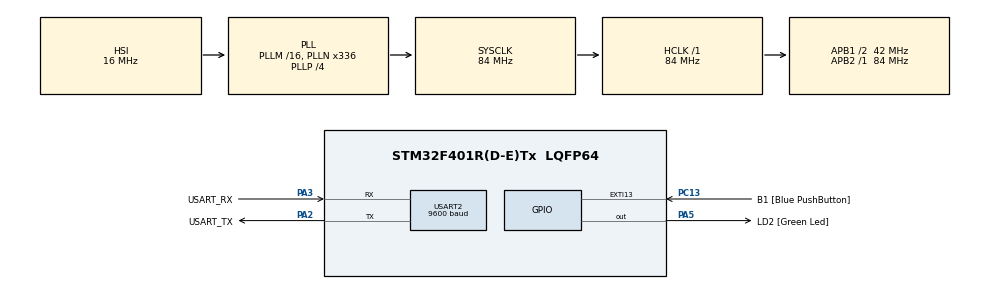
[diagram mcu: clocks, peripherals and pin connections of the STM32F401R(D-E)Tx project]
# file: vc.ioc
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Mcu.Family=STM32F4
Mcu.Name=STM32F401R(D-E)Tx
Mcu.Package=LQFP64
NVIC.EXTI15_10_IRQn=true\:0\:0\:false\:false\:true\:true
NVIC.PriorityGroup=NVIC_PRIORITYGROUP_0
NVIC.USART2_IRQn=true\:0\:0\:false\:false\:true\:true
PA13.GPIO_Label=TMS
PA13.Mode=Serial_Wire
PA13.Signal=SYS_JTMS-SWDIO
PA14.GPIO_Label=TCK
PA14.Mode=Serial_Wire
PA14.Signal=SYS_JTCK-SWCLK
PA2.GPIO_Label=USART_TX
PA2.GPIO_Mode=GPIO_MODE_AF_PP
PA2.GPIO_PuPd=GPIO_NOPULL
PA2.GPIO_Speed=GPIO_SPEED_FREQ_LOW
PA2.Mode=Asynchronous
PA2.Signal=USART2_TX
PA3.GPIO_Label=USART_RX
PA3.GPIO_Mode=GPIO_MODE_AF_PP
PA3.GPIO_PuPd=GPIO_NOPULL
PA3.GPIO_Speed=GPIO_SPEED_FREQ_LOW
PA3.Mode=Asynchronous
PA3.Signal=USART2_RX
PA5.GPIO_Label=LD2 [Green Led]
PA5.GPIO_Mode=GPIO_MODE_OUTPUT_PP
PA5.GPIO_PuPd=GPIO_NOPULL
PA5.GPIO_Speed=GPIO_SPEED_FREQ_LOW
PA5.Signal=GPIO_Output
PB3.GPIO_Label=SWO
PB3.Signal=SYS_JTDO-SWO
PC13-ANTI_TAMP.GPIO_Label=B1 [Blue PushButton]
PC13-ANTI_TAMP.GPIO_ModeDefaultEXTI=GPIO_MODE_IT_FALLING
PC13-ANTI_TAMP.GPIO_PuPd=GPIO_NOPULL
PC13-ANTI_TAMP.Signal=GPXTI13
PC14-OSC32_IN.Mode=LSE-External-Oscillator
PC14-OSC32_IN.Signal=RCC_OSC32_IN
PC15-OSC32_OUT.Mode=LSE-External-Oscillator
PC15-OSC32_OUT.Signal=RCC_OSC32_OUT
PH0\ -\ OSC_IN.Mode=HSE-External-Clock-Source
PH0\ -\ OSC_IN.Signal=RCC_OSC_IN
PH1\ -\ OSC_OUT.Mode=HSE-External-Clock-Source
PH1\ -\ OSC_OUT.Signal=RCC_OSC_OUT
ProjectManager.HeapSize=0x200
ProjectManager.StackSize=0x400
ProjectManager.TargetToolchain=SW4STM32
RCC.48MHZClocksFreq_Value=48000000
RCC.AHBFreq_Value=84000000
RCC.APB1CLKDivider=RCC_HCLK_DIV2
RCC.APB1Freq_Value=42000000
RCC.APB1TimFreq_Value=84000000
RCC.APB2Freq_Value=84000000
RCC.APB2TimFreq_Value=84000000
RCC.CortexFreq_Value=84000000
RCC.HCLKFreq_Value=84000000
RCC.HSE_VALUE=8000000
RCC.HSI_VALUE=16000000
RCC.PLLN=336
RCC.PLLP=RCC_PLLP_DIV4
RCC.PLLQ=7
RCC.SYSCLKFreq_VALUE=84000000
RCC.SYSCLKSource=RCC_SYSCLKSOURCE_PLLCLK
RCC.VCOOutputFreq_Value=336000000
USART2.BaudRate=9600
USART2.VirtualMode=VM_ASYNC
board=NUCLEO-F401RE

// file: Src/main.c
/**
  ******************************************************************************
  * @file           : main.c
  * @brief          : Main program body
  ******************************************************************************
  ** This notice applies to any and all portions of this file
  * that are not between comment pairs USER CODE BEGIN and
  * USER CODE END. Other portions of this file, whether
  * inserted by the user or by software development tools
  * are owned by their respective copyright owners.
  *
  * COPYRIGHT(c) 2018 STMicroelectronics
  *
  * Redistribution and use in source and binary forms, with or without modification,
  * are permitted provided that the following conditions are met:
  *   1. Redistributions of source code must retain the above copyright notice,
  *      this list of conditions and the following disclaimer.
  *   2. Redistributions in binary form must reproduce the above copyright notice,
  *      this list of conditions and the following disclaimer in the documentation
  *      and/or other materials provided with the distribution.
  *   3. Neither the name of STMicroelectronics nor the names of its contributors
  *      may be used to endorse or promote products derived from this software
  *      without specific prior written permission.
  *
  * THIS SOFTWARE IS PROVIDED BY THE COPYRIGHT HOLDERS AND CONTRIBUTORS "AS IS"
  * AND ANY EXPRESS OR IMPLIED WARRANTIES, INCLUDING, BUT NOT LIMITED TO, THE
  * IMPLIED WARRANTIES OF MERCHANTABILITY AND FITNESS FOR A PARTICULAR PURPOSE ARE
  * DISCLAIMED. IN NO EVENT SHALL THE COPYRIGHT HOLDER OR CONTRIBUTORS BE LIABLE
  * FOR ANY DIRECT, INDIRECT, INCIDENTAL, SPECIAL, EXEMPLARY, OR CONSEQUENTIAL
  * DAMAGES (INCLUDING, BUT NOT LIMITED TO, PROCUREMENT OF SUBSTITUTE GOODS OR
  * SERVICES; LOSS OF USE, DATA, OR PROFITS; OR BUSINESS INTERRUPTION) HOWEVER
  * CAUSED AND ON ANY THEORY OF LIABILITY, WHETHER IN CONTRACT, STRICT LIABILITY,
  * OR TORT (INCLUDING NEGLIGENCE OR OTHERWISE) ARISING IN ANY WAY OUT OF THE USE
  * OF THIS SOFTWARE, EVEN IF ADVISED OF THE POSSIBILITY OF SUCH DAMAGE.
  *
  ******************************************************************************
  */
#include "main.h"
#include "stm32f4xx_hal.h"

UART_HandleTypeDef huart2;

/* USER CODE BEGIN PV */
/* Private variables ---------------------------------------------------------*/
uint16_t licznik=0;
uint16_t okres=500;

uint8_t BUFRX[200];
__IO uint16_t RxBUSY=0;
__IO uint16_t RxEMPTY=0;

uint8_t BUFTX[200];
__IO uint16_t TxBUSY=0;
__IO uint16_t TxEMPTY=0;
/* USER CODE END PV */

void SystemClock_Config(void);
static void MX_GPIO_Init(void);
static void MX_USART2_UART_Init(void);

/* USER CODE BEGIN PFP */
/* Private function prototypes -----------------------------------------------*/

void HAL_GPIO_EXTI_Callback(uint16_t GPIO_Pin){
	if(okres==500){
		okres=250;
	}
	else if(okres==250){
		okres=125;
	}
	else if(okres==125){
			okres=500;
		}

}
void HAL_SYSTICK_Callback(){
	licznik++;
	if(licznik>okres){
		licznik=0;
//		HAL_GPIO_TogglePin(GPIOA, GPIO_PIN_5);
	}
}

/* USER CODE END PFP */

int main(void)
{

  /* MCU Configuration----------------------------------------------------------*/

  /* Reset of all peripherals, Initializes the Flash interface and the Systick. */
  HAL_Init();

  /* Configure the system clock */
  SystemClock_Config();

  /* Initialize all configured peripherals */
  MX_GPIO_Init();
  MX_USART2_UART_Init();
  /* USER CODE BEGIN 2 */
	HAL_UART_Receive_IT(&huart2, BUFRX, 1);
	//HAL_UART_Transmit_IT(&huart2, "test", 4);
	Send();  /* USER CODE END 2 */

  /* Infinite loop */
  while (1)
  {

  }

}

void SystemClock_Config(void)
{

  RCC_OscInitTypeDef RCC_OscInitStruct;
  RCC_ClkInitTypeDef RCC_ClkInitStruct;

    /**Configure the main internal regulator output voltage
    */
  __HAL_RCC_PWR_CLK_ENABLE();

  __HAL_PWR_VOLTAGESCALING_CONFIG(PWR_REGULATOR_VOLTAGE_SCALE2);

    /**Initializes the CPU, AHB and APB busses clocks
    */
  RCC_OscInitStruct.OscillatorType = RCC_OSCILLATORTYPE_HSI;
  RCC_OscInitStruct.HSIState = RCC_HSI_ON;
  RCC_OscInitStruct.HSICalibrationValue = 16;
  RCC_OscInitStruct.PLL.PLLState = RCC_PLL_ON;
  RCC_OscInitStruct.PLL.PLLSource = RCC_PLLSOURCE_HSI;
  RCC_OscInitStruct.PLL.PLLM = 16;
  RCC_OscInitStruct.PLL.PLLN = 336;
  RCC_OscInitStruct.PLL.PLLP = RCC_PLLP_DIV4;
  RCC_OscInitStruct.PLL.PLLQ = 7;
  if (HAL_RCC_OscConfig(&RCC_OscInitStruct) != HAL_OK)
  {
    _Error_Handler(__FILE__, __LINE__);
  }

    /**Initializes the CPU, AHB and APB busses clocks
    */
  RCC_ClkInitStruct.ClockType = RCC_CLOCKTYPE_HCLK|RCC_CLOCKTYPE_SYSCLK
                              |RCC_CLOCKTYPE_PCLK1|RCC_CLOCKTYPE_PCLK2;
  RCC_ClkInitStruct.SYSCLKSource = RCC_SYSCLKSOURCE_PLLCLK;
  RCC_ClkInitStruct.AHBCLKDivider = RCC_SYSCLK_DIV1;
  RCC_ClkInitStruct.APB1CLKDivider = RCC_HCLK_DIV2;
  RCC_ClkInitStruct.APB2CLKDivider = RCC_HCLK_DIV1;

  if (HAL_RCC_ClockConfig(&RCC_ClkInitStruct, FLASH_LATENCY_2) != HAL_OK)
  {
    _Error_Handler(__FILE__, __LINE__);
  }

    /**Configure the Systick interrupt time
    */
  HAL_SYSTICK_Config(HAL_RCC_GetHCLKFreq()/1000);

    /**Configure the Systick
    */
  HAL_SYSTICK_CLKSourceConfig(SYSTICK_CLKSOURCE_HCLK);

  /* SysTick_IRQn interrupt configuration */
  HAL_NVIC_SetPriority(SysTick_IRQn, 0, 0);
}

/* USART2 init function */
static void MX_USART2_UART_Init(void)
{

  huart2.Instance = USART2;
  huart2.Init.BaudRate = 9600;
  huart2.Init.WordLength = UART_WORDLENGTH_8B;
  huart2.Init.StopBits = UART_STOPBITS_1;
  huart2.Init.Parity = UART_PARITY_NONE;
  huart2.Init.Mode = UART_MODE_TX_RX;
  huart2.Init.HwFlowCtl = UART_HWCONTROL_NONE;
  huart2.Init.OverSampling = UART_OVERSAMPLING_16;
  if (HAL_UART_Init(&huart2) != HAL_OK)
  {
    _Error_Handler(__FILE__, __LINE__);
  }

}

/** Configure pins as
        * Analog
        * Input
        * Output
        * EVENT_OUT
        * EXTI
*/
static void MX_GPIO_Init(void)
{

  GPIO_InitTypeDef GPIO_InitStruct;

  /* GPIO Ports Clock Enable */
  __HAL_RCC_GPIOC_CLK_ENABLE();
  __HAL_RCC_GPIOH_CLK_ENABLE();
  __HAL_RCC_GPIOA_CLK_ENABLE();
  __HAL_RCC_GPIOB_CLK_ENABLE();

  /*Configure GPIO pin Output Level */
  HAL_GPIO_WritePin(LD2_GPIO_Port, LD2_Pin, GPIO_PIN_RESET);

  /*Configure GPIO pin : B1_Pin */
  GPIO_InitStruct.Pin = B1_Pin;
  GPIO_InitStruct.Mode = GPIO_MODE_IT_FALLING;
  GPIO_InitStruct.Pull = GPIO_NOPULL;
  HAL_GPIO_Init(B1_GPIO_Port, &GPIO_InitStruct);

  /*Configure GPIO pin : LD2_Pin */
  GPIO_InitStruct.Pin = LD2_Pin;
  GPIO_InitStruct.Mode = GPIO_MODE_OUTPUT_PP;
  GPIO_InitStruct.Pull = GPIO_NOPULL;
  GPIO_InitStruct.Speed = GPIO_SPEED_FREQ_LOW;
  HAL_GPIO_Init(LD2_GPIO_Port, &GPIO_InitStruct);

  /* EXTI interrupt init*/
  HAL_NVIC_SetPriority(EXTI15_10_IRQn, 0, 0);
  HAL_NVIC_EnableIRQ(EXTI15_10_IRQn);

}

/* USER CODE BEGIN 4 */
void HAL_UART_RxCpltCallback(UART_HandleTypeDef *huart)
 {
if(huart->Instance == USART2){
HAL_GPIO_WritePin(GPIOA,GPIO_PIN_5,GPIO_PIN_SET);
	RxEMPTY++;
	if(RxEMPTY==200){
		RxEMPTY=0;
	}
}
HAL_UART_Receive_IT(&huart2, &BUFRX[RxEMPTY], 1);
}

void Send(){
	uint16_t index=TxEMPTY;
	for(int i=0; i<=3; i++){
		BUFTX[index]=0x83;
		index++;
		if(index==200){
			index=0;
		}
	}
	__disable_irq();
	if(TxBUSY==TxEMPTY){
		TxEMPTY=index;
		uint8_t temp = BUFTX[TxBUSY];
		TxBUSY++;
		if(TxBUSY==200){
			TxBUSY=0;
		}
		HAL_UART_Transmit_IT(&huart2,&temp,1);
	}
	else{
				TxEMPTY=index;
			}
	__enable_irq();
}

void HAL_UART_TxCpltCallback(UART_HandleTypeDef *huart)
 {
if(huart->Instance == USART2){
//HAL_GPIO_WritePin(GPIOA,GPIO_PIN_5,GPIO_PIN_SET);
if(TxBUSY!=TxEMPTY){
	uint8_t temp = BUFTX[TxBUSY];
			TxBUSY++;
			if(TxBUSY==200){
				TxBUSY=0;
			}
			HAL_UART_Transmit_IT(&huart2,&temp,1);

}
}
 }

/* USER CODE END 4 */

void _Error_Handler(char *file, int line)
{
  while(1)
  {
  }
}

/************************ (C) COPYRIGHT STMicroelectronics *****END OF FILE****/
